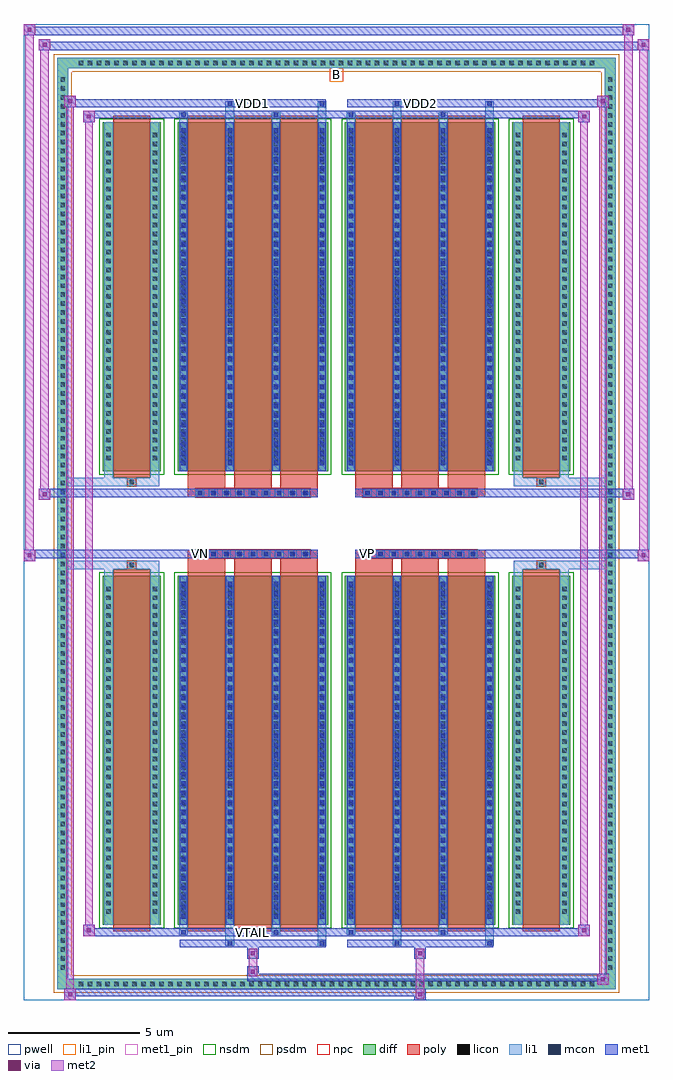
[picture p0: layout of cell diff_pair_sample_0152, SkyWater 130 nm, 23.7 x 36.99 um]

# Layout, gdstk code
import gdstk
lib = gdstk.Library(unit=1e-6, precision=5e-09)
def R(c, l, rs):  # rectangles x0, y0, x1, y1
    for r in rs: c.add(gdstk.rectangle(r[:2], r[2:], *l))
def A(c, l, x, y, w, h, nx, ny, dx, dy):  # array of equal rectangles
    R(c, l, [(x+i*dx, y+j*dy, x+i*dx+w, y+j*dy+h) for i in range(nx) for j in range(ny)])
def P(c, l, *ps):  # polygons
    for p in ps: c.add(gdstk.Polygon(p, *l))
pwell = (64, 44)
diff = (65, 20)
poly = (66, 20)
licon = (66, 44)
li1_pin = (67, 16)
li1 = (67, 20)
mcon = (67, 44)
met1_pin = (68, 16)
met1 = (68, 20)
via = (68, 44)
met2 = (69, 20)
nsdm = (93, 44)
psdm = (94, 20)
npc = (95, 20)

diff_pair_sample_0152 = lib.new_cell('diff_pair_sample_0152')
R(diff_pair_sample_0152, pwell, [(-11.85,-18.06,11.85,18.93), (-9.17,-16.25,-0.01,-0.795), (0.01,-16.25,9.17,-0.795), (-9.17,0.795,-0.01,16.25), (0.01,0.795,9.17,16.25)])
A(diff_pair_sample_0152, diff, -9.895, -17.66, 0.41, 0.41, 58, 2, 0.34, 34.91)
A(diff_pair_sample_0152, diff, -10.58, -17.035, 0.41, 0.41, 1, 100, 0, 0.34)
A(diff_pair_sample_0152, diff, 10.17, -17.035, 0.41, 0.41, 1, 100, 0, 0.34)
R(diff_pair_sample_0152, diff, [(-9.895,-17.66,9.895,-17.25), (-10.58,-17.035,-10.17,17.035), (10.17,-17.035,10.58,17.035), (-8.86,-15.205,-6.66,-1.985), (-6.02,-15.205,-0.32,-1.985), (0.32,-15.205,6.02,-1.985), (6.66,-15.205,8.86,-1.985), (-8.86,1.985,-6.66,15.205), (-6.02,1.985,-0.32,15.205), (0.32,1.985,6.02,15.205), (6.66,1.985,8.86,15.205), (-9.895,17.25,9.895,17.66)])
P(diff_pair_sample_0152, diff, [(10.58,17.66),(-10.58,17.66),(-10.58,-17.25),(-10.17,-17.25),(-10.17,17.25),(10.17,17.25),(10.17,-17.25),(-10.17,-17.25),(-10.58,-17.25),(-10.58,-17.66),(10.58,-17.66)])
A(diff_pair_sample_0152, poly, -5.63, -15.455, 1.42, 13.72, 3, 2, 1.75, 17.19)
A(diff_pair_sample_0152, poly, 0.71, -15.455, 1.42, 13.72, 3, 2, 1.75, 17.19)
A(diff_pair_sample_0152, poly, -5.63, -1.735, 1.42, 0.41, 3, 2, 1.75, 3.06)
A(diff_pair_sample_0152, poly, 0.71, -1.735, 1.42, 0.41, 3, 2, 1.75, 3.06)
A(diff_pair_sample_0152, poly, -5.335, -1.325, 0.33, 0.33, 9, 2, 0.5, 2.32)
A(diff_pair_sample_0152, poly, 1.005, -1.325, 0.33, 0.33, 9, 2, 0.5, 2.32)
R(diff_pair_sample_0152, poly, [(-8.47,-15.455,-7.05,-1.735), (7.05,-15.455,8.47,-1.735), (-7.925,-1.735,-7.595,-1.405), (-7.925,-1.735,-7.595,-1.405), (7.595,-1.735,7.925,-1.405), (7.595,-1.735,7.925,-1.405), (-5.63,-1.325,-0.71,-0.995), (0.71,-1.325,5.63,-0.995), (-5.63,0.995,-0.71,1.325), (0.71,0.995,5.63,1.325), (-7.925,1.405,-7.595,1.735), (-7.925,1.405,-7.595,1.735), (7.595,1.405,7.925,1.735), (7.595,1.405,7.925,1.735), (-8.47,1.735,-7.05,15.455), (7.05,1.735,8.47,15.455)])
A(diff_pair_sample_0152, licon, -9.775, -17.54, 0.17, 0.17, 58, 2, 0.34, 34.91)
A(diff_pair_sample_0152, licon, -10.46, -16.915, 0.17, 0.17, 1, 100, 0, 0.34)
A(diff_pair_sample_0152, licon, 10.29, -16.915, 0.17, 0.17, 1, 100, 0, 0.34)
A(diff_pair_sample_0152, licon, -8.72, -14.8, 0.17, 0.17, 1, 37, 0, 0.34)
A(diff_pair_sample_0152, licon, -6.97, -14.8, 0.17, 0.17, 1, 37, 0, 0.34)
A(diff_pair_sample_0152, licon, -5.88, -14.8, 0.17, 0.17, 4, 37, 1.75, 0.34)
A(diff_pair_sample_0152, licon, 0.46, -14.8, 0.17, 0.17, 4, 37, 1.75, 0.34)
A(diff_pair_sample_0152, licon, 6.8, -14.8, 0.17, 0.17, 1, 37, 0, 0.34)
A(diff_pair_sample_0152, licon, 8.55, -14.8, 0.17, 0.17, 1, 37, 0, 0.34)
A(diff_pair_sample_0152, licon, -5.255, -1.245, 0.17, 0.17, 9, 2, 0.5, 2.32)
A(diff_pair_sample_0152, licon, 1.085, -1.245, 0.17, 0.17, 9, 2, 0.5, 2.32)
A(diff_pair_sample_0152, licon, -8.72, 2.39, 0.17, 0.17, 1, 37, 0, 0.34)
A(diff_pair_sample_0152, licon, -6.97, 2.39, 0.17, 0.17, 1, 37, 0, 0.34)
A(diff_pair_sample_0152, licon, -5.88, 2.39, 0.17, 0.17, 4, 37, 1.75, 0.34)
A(diff_pair_sample_0152, licon, 0.46, 2.39, 0.17, 0.17, 4, 37, 1.75, 0.34)
A(diff_pair_sample_0152, licon, 6.8, 2.39, 0.17, 0.17, 1, 37, 0, 0.34)
A(diff_pair_sample_0152, licon, 8.55, 2.39, 0.17, 0.17, 1, 37, 0, 0.34)
R(diff_pair_sample_0152, licon, [(-7.845,-1.655,-7.675,-1.485), (7.675,-1.655,7.845,-1.485), (-7.845,1.485,-7.675,1.655), (7.675,1.485,7.845,1.655)])
R(diff_pair_sample_0152, li1_pin, [(-0.25,16.75,0.25,17.25)])
A(diff_pair_sample_0152, li1, -9.855, -17.62, 0.33, 0.33, 58, 2, 0.34, 34.91)
A(diff_pair_sample_0152, li1, -10.54, -16.995, 0.33, 0.33, 1, 100, 0, 0.34)
A(diff_pair_sample_0152, li1, 10.21, -16.995, 0.33, 0.33, 1, 100, 0, 0.34)
A(diff_pair_sample_0152, li1, -5.96, -15.205, 0.33, 13.22, 4, 2, 1.75, 17.19)
A(diff_pair_sample_0152, li1, 0.38, -15.205, 0.33, 13.22, 4, 2, 1.75, 17.19)
A(diff_pair_sample_0152, li1, -5.88, -14.98, 0.17, 0.17, 4, 36, 1.75, 0.36)
A(diff_pair_sample_0152, li1, -5.88, -14.98, 0.17, 12.77, 4, 2, 1.75, 17.19)
A(diff_pair_sample_0152, li1, 0.46, -14.98, 0.17, 0.17, 4, 36, 1.75, 0.36)
A(diff_pair_sample_0152, li1, 0.46, -14.98, 0.17, 12.77, 4, 2, 1.75, 17.19)
A(diff_pair_sample_0152, li1, -8.8, -14.88, 0.33, 0.33, 1, 37, 0, 0.34)
A(diff_pair_sample_0152, li1, -7.05, -14.88, 0.33, 0.33, 1, 37, 0, 0.34)
A(diff_pair_sample_0152, li1, -5.96, -14.88, 0.33, 0.33, 4, 37, 1.75, 0.34)
A(diff_pair_sample_0152, li1, 0.38, -14.88, 0.33, 0.33, 4, 37, 1.75, 0.34)
A(diff_pair_sample_0152, li1, 6.72, -14.88, 0.33, 0.33, 1, 37, 0, 0.34)
A(diff_pair_sample_0152, li1, 8.47, -14.88, 0.33, 0.33, 1, 37, 0, 0.34)
A(diff_pair_sample_0152, li1, -5.335, -1.325, 0.33, 0.33, 9, 2, 0.5, 2.32)
A(diff_pair_sample_0152, li1, 1.005, -1.325, 0.33, 0.33, 9, 2, 0.5, 2.32)
A(diff_pair_sample_0152, li1, -5.88, 2.21, 0.17, 0.17, 4, 36, 1.75, 0.36)
A(diff_pair_sample_0152, li1, 0.46, 2.21, 0.17, 0.17, 4, 36, 1.75, 0.36)
A(diff_pair_sample_0152, li1, -8.8, 2.31, 0.33, 0.33, 1, 37, 0, 0.34)
A(diff_pair_sample_0152, li1, -7.05, 2.31, 0.33, 0.33, 1, 37, 0, 0.34)
A(diff_pair_sample_0152, li1, -5.96, 2.31, 0.33, 0.33, 4, 37, 1.75, 0.34)
A(diff_pair_sample_0152, li1, 0.38, 2.31, 0.33, 0.33, 4, 37, 1.75, 0.34)
A(diff_pair_sample_0152, li1, 6.72, 2.31, 0.33, 0.33, 1, 37, 0, 0.34)
A(diff_pair_sample_0152, li1, 8.47, 2.31, 0.33, 0.33, 1, 37, 0, 0.34)
R(diff_pair_sample_0152, li1, [(-10.58,-17.66,-10.17,-17.25), (-10.58,-17.66,-10.17,-17.25), (-10.17,-17.66,10.17,-17.25), (10.17,-17.66,10.58,-17.25), (10.17,-17.66,10.58,-17.25), (-10.58,-17.25,-10.17,17.25), (10.17,-17.25,10.58,17.25), (-4.21,-16.01,-3.88,-15.205), (-4.13,-16.01,-3.96,-15.84), (-0.71,-16.01,-0.38,-15.205), (-0.63,-16.01,-0.46,-15.84), (2.13,-16.01,2.46,-15.205), (2.21,-16.01,2.38,-15.84), (5.63,-16.01,5.96,-15.205), (5.71,-16.01,5.88,-15.84), (-5.96,-15.58,-5.63,-15.205), (-5.88,-15.58,-5.71,-15.41), (-2.46,-15.58,-2.13,-15.205), (-2.38,-15.58,-2.21,-15.41), (0.38,-15.58,0.71,-15.205), (0.46,-15.58,0.63,-15.41), (3.88,-15.58,4.21,-15.205), (3.96,-15.58,4.13,-15.41), (-8.8,-15.205,-8.47,-1.985), (-7.05,-15.205,-6.72,-1.985), (6.72,-15.205,7.05,-1.985), (8.47,-15.205,8.8,-1.985), (-8.8,-1.985,-8.47,-1.405), (-7.05,-1.985,-6.72,-1.405), (6.72,-1.985,7.05,-1.405), (8.47,-1.985,8.8,-1.405), (-10.58,-1.735,-7.925,-1.405), (-8.8,-1.735,-7.925,-1.405), (-7.925,-1.735,-7.595,-1.405), (-7.595,-1.735,-6.72,-1.405), (6.72,-1.735,7.595,-1.405), (7.595,-1.735,7.925,-1.405), (7.595,-1.735,10.58,-1.405), (7.925,-1.735,8.8,-1.405), (-10.58,1.405,-7.925,1.735), (-8.8,1.405,-7.925,1.735), (-8.8,1.405,-8.47,1.985), (-7.925,1.405,-7.595,1.735), (-7.595,1.405,-6.72,1.735), (-7.05,1.405,-6.72,1.985), (6.72,1.405,7.595,1.735), (6.72,1.405,7.05,1.985), (7.595,1.405,7.925,1.735), (7.595,1.405,10.58,1.735), (7.925,1.405,8.8,1.735), (8.47,1.405,8.8,1.985), (-8.8,1.985,-8.47,15.205), (-7.05,1.985,-6.72,15.205), (6.72,1.985,7.05,15.205), (8.47,1.985,8.8,15.205), (-5.96,15.205,-5.63,15.58), (-4.21,15.205,-3.88,16.01), (-2.46,15.205,-2.13,15.58), (-0.71,15.205,-0.38,16.01), (0.38,15.205,0.71,15.58), (2.13,15.205,2.46,16.01), (3.88,15.205,4.21,15.58), (5.63,15.205,5.96,16.01), (-5.88,15.41,-5.71,15.58), (-2.38,15.41,-2.21,15.58), (0.46,15.41,0.63,15.58), (3.96,15.41,4.13,15.58), (-4.13,15.84,-3.96,16.01), (-0.63,15.84,-0.46,16.01), (2.21,15.84,2.38,16.01), (5.71,15.84,5.88,16.01), (-10.58,17.25,-10.17,17.66), (-10.58,17.25,-10.17,17.66), (-10.17,17.25,10.17,17.66), (10.17,17.25,10.58,17.66), (10.17,17.25,10.58,17.66)])
A(diff_pair_sample_0152, mcon, -5.88, -14.98, 0.17, 0.17, 4, 36, 1.75, 0.36)
A(diff_pair_sample_0152, mcon, 0.46, -14.98, 0.17, 0.17, 4, 36, 1.75, 0.36)
A(diff_pair_sample_0152, mcon, -5.255, -1.245, 0.17, 0.17, 9, 2, 0.5, 2.32)
A(diff_pair_sample_0152, mcon, 1.085, -1.245, 0.17, 0.17, 9, 2, 0.5, 2.32)
A(diff_pair_sample_0152, mcon, -5.88, 2.21, 0.17, 0.17, 4, 36, 1.75, 0.36)
A(diff_pair_sample_0152, mcon, 0.46, 2.21, 0.17, 0.17, 4, 36, 1.75, 0.36)
R(diff_pair_sample_0152, mcon, [(-4.13,-16.01,-3.96,-15.84), (-0.63,-16.01,-0.46,-15.84), (2.21,-16.01,2.38,-15.84), (5.71,-16.01,5.88,-15.84), (-5.88,-15.58,-5.71,-15.41), (-2.38,-15.58,-2.21,-15.41), (0.46,-15.58,0.63,-15.41), (3.96,-15.58,4.13,-15.41), (-5.88,15.41,-5.71,15.58), (-2.38,15.41,-2.21,15.58), (0.46,15.41,0.63,15.58), (3.96,15.41,4.13,15.58), (-4.13,15.84,-3.96,16.01), (-0.63,15.84,-0.46,16.01), (2.21,15.84,2.38,16.01), (5.71,15.84,5.88,16.01)])
R(diff_pair_sample_0152, met1_pin, [(-3.305,-15.62,-3.035,-15.35), (-5.305,-1.285,-5.035,-1.015), (1.035,-1.285,1.305,-1.015), (-3.305,15.8,-3.035,16.07), (3.035,15.8,3.305,16.07)])
A(diff_pair_sample_0152, met1, -5.94, -15.205, 0.29, 13.22, 4, 2, 1.75, 17.19)
A(diff_pair_sample_0152, met1, 0.4, -15.205, 0.29, 13.22, 4, 2, 1.75, 17.19)
A(diff_pair_sample_0152, met1, -5.94, -15.04, 0.29, 0.29, 4, 36, 1.75, 0.36)
A(diff_pair_sample_0152, met1, 0.4, -15.04, 0.29, 0.29, 4, 36, 1.75, 0.36)
A(diff_pair_sample_0152, met1, -5.315, -1.305, 0.29, 0.29, 9, 2, 0.5, 2.32)
A(diff_pair_sample_0152, met1, 1.025, -1.305, 0.29, 0.29, 9, 2, 0.5, 2.32)
A(diff_pair_sample_0152, met1, -5.94, 2.15, 0.29, 0.29, 4, 36, 1.75, 0.36)
A(diff_pair_sample_0152, met1, 0.4, 2.15, 0.29, 0.29, 4, 36, 1.75, 0.36)
R(diff_pair_sample_0152, met1, [(-10.31,-18.06,-9.88,-17.63), (2.955,-18.06,3.385,-17.63), (-10.31,-17.92,3.385,-17.63), (9.88,-17.49,10.31,-17.06), (-3.385,-17.35,10.31,-17.06), (-3.385,-17.21,-2.955,-16.78), (-3.385,-16.5,-2.955,-16.07), (2.955,-16.5,3.385,-16.07), (-5.94,-16.07,-0.4,-15.78), (-4.19,-16.07,-3.9,-15.78), (-0.69,-16.07,-0.4,-15.78), (0.4,-16.07,5.94,-15.78), (2.15,-16.07,2.44,-15.78), (5.65,-16.07,5.94,-15.78), (-9.6,-15.64,-9.17,-15.21), (-9.6,-15.64,-5.94,-15.35), (-5.94,-15.64,-5.65,-15.35), (-5.94,-15.64,-0.4,-15.35), (-2.44,-15.64,-2.15,-15.35), (-0.4,-15.64,0.4,-15.35), (0.4,-15.64,0.69,-15.35), (0.4,-15.64,5.94,-15.35), (3.9,-15.64,4.19,-15.35), (5.94,-15.64,9.6,-15.35), (9.17,-15.64,9.6,-15.21), (-11.85,-1.425,-11.42,-0.995), (11.42,-1.425,11.85,-0.995), (-11.85,-1.325,-0.71,-0.995), (-5.63,-1.325,-0.71,-0.995), (0.71,-1.325,5.63,-0.995), (0.71,-1.325,11.85,-0.995), (-11.28,0.895,-10.85,1.325), (10.85,0.895,11.28,1.325), (-11.28,0.995,-5.63,1.325), (-5.63,0.995,-0.71,1.325), (0.71,0.995,5.63,1.325), (5.63,0.995,11.28,1.325), (-9.6,15.21,-9.17,15.64), (9.17,15.21,9.6,15.64), (-9.6,15.35,-5.94,15.64), (-5.94,15.35,-5.65,15.64), (-5.94,15.35,-0.4,15.64), (-2.44,15.35,-2.15,15.64), (-0.4,15.35,0.4,15.64), (0.4,15.35,0.69,15.64), (0.4,15.35,5.94,15.64), (3.9,15.35,4.19,15.64), (5.94,15.35,9.6,15.64), (-10.31,15.78,-9.88,16.21), (-10.31,15.78,-5.94,16.07), (-5.94,15.78,-0.4,16.07), (-4.19,15.78,-3.9,16.07), (-0.69,15.78,-0.4,16.07), (0.4,15.78,5.94,16.07), (2.15,15.78,2.44,16.07), (5.65,15.78,5.94,16.07), (5.94,15.78,10.31,16.07), (9.88,15.78,10.31,16.21), (-11.28,17.93,-10.85,18.36), (-11.28,17.93,-9.17,18.26), (-9.17,17.93,9.17,18.26), (9.17,17.93,11.85,18.26), (11.42,17.93,11.85,18.36), (-11.85,18.5,-11.42,18.93), (-11.85,18.5,-9.17,18.83), (-9.17,18.5,9.17,18.83), (9.17,18.5,11.28,18.83), (10.85,18.5,11.28,18.93)])
R(diff_pair_sample_0152, via, [(-10.17,-17.92,-10.02,-17.77), (3.095,-17.92,3.245,-17.77), (10.02,-17.35,10.17,-17.2), (-3.245,-17.07,-3.095,-16.92), (-3.245,-16.36,-3.095,-16.21), (3.095,-16.36,3.245,-16.21), (-9.46,-15.5,-9.31,-15.35), (9.31,-15.5,9.46,-15.35), (-11.71,-1.285,-11.56,-1.135), (11.56,-1.285,11.71,-1.135), (-11.14,1.035,-10.99,1.185), (10.99,1.035,11.14,1.185), (-9.46,15.35,-9.31,15.5), (9.31,15.35,9.46,15.5), (-10.17,15.92,-10.02,16.07), (10.02,15.92,10.17,16.07), (-11.14,18.07,-10.99,18.22), (11.56,18.07,11.71,18.22), (-11.71,18.64,-11.56,18.79), (10.99,18.64,11.14,18.79)])
R(diff_pair_sample_0152, met2, [(-10.31,-18.06,-9.88,-17.63), (-10.24,-18.06,-9.95,16.21), (-9.95,-18.06,-9.88,-17.63), (-10.26,-18.01,-9.93,-17.68), (3.005,-18.01,3.335,-17.68), (3.005,-17.68,3.335,-16.45), (9.88,-17.49,10.31,-17.06), (9.95,-17.49,10.24,16.21), (10.24,-17.49,10.31,-17.06), (9.93,-17.44,10.26,-17.11), (-3.335,-17.16,-3.005,-16.83), (-3.335,-16.83,-3.005,-16.45), (-3.335,-16.45,-3.005,-16.12), (3.005,-16.45,3.335,-16.12), (-9.6,-15.64,-9.17,-15.21), (-9.53,-15.64,-9.24,15.64), (-9.24,-15.64,-9.17,-15.21), (9.17,-15.64,9.6,-15.21), (9.24,-15.64,9.53,15.64), (9.53,-15.64,9.6,-15.21), (-9.55,-15.59,-9.22,-15.26), (9.22,-15.59,9.55,-15.26), (-11.85,-1.425,-11.42,-0.995), (-11.8,-1.425,-11.47,18.93), (-11.47,-1.425,-11.42,-0.995), (11.42,-1.425,11.85,-0.995), (11.47,-1.425,11.8,18.36), (11.8,-1.425,11.85,-0.995), (-11.8,-1.375,-11.47,-1.045), (11.47,-1.375,11.8,-1.045), (-11.28,0.895,-10.85,1.325), (-11.23,0.895,-10.9,18.36), (-10.9,0.895,-10.85,1.325), (10.85,0.895,11.28,1.325), (10.9,0.895,11.23,18.93), (11.23,0.895,11.28,1.325), (-11.23,0.945,-10.9,1.275), (10.9,0.945,11.23,1.275), (-9.6,15.21,-9.17,15.64), (-9.24,15.21,-9.17,15.64), (9.17,15.21,9.6,15.64), (9.53,15.21,9.6,15.64), (-9.55,15.26,-9.22,15.59), (9.22,15.26,9.55,15.59), (-10.31,15.78,-9.88,16.21), (-9.95,15.78,-9.88,16.21), (9.88,15.78,10.31,16.21), (10.24,15.78,10.31,16.21), (-10.26,15.83,-9.93,16.16), (9.93,15.83,10.26,16.16), (-11.28,17.93,-10.85,18.36), (-10.9,17.93,-10.85,18.36), (11.42,17.93,11.85,18.36), (11.8,17.93,11.85,18.36), (-11.23,17.98,-10.9,18.31), (11.47,17.98,11.8,18.31), (-11.85,18.5,-11.42,18.93), (-11.47,18.5,-11.42,18.93), (10.85,18.5,11.28,18.93), (11.23,18.5,11.28,18.93), (-11.8,18.55,-11.47,18.88), (10.9,18.55,11.23,18.88)])
R(diff_pair_sample_0152, nsdm, [(-8.99,-15.335,-6.53,-1.855), (-6.15,-15.335,-0.19,-1.855), (0.19,-15.335,6.15,-1.855), (6.53,-15.335,8.99,-1.855), (-8.99,1.855,-6.53,15.335), (-6.15,1.855,-0.19,15.335), (0.19,1.855,6.15,15.335), (6.53,1.855,8.99,15.335)])
P(diff_pair_sample_0152, psdm, [(10.71,17.79),(-10.71,17.79),(-10.71,-17.12),(-10.04,-17.12),(-10.04,17.12),(10.04,17.12),(10.04,-17.12),(-10.04,-17.12),(-10.71,-17.12),(-10.71,-17.79),(10.71,-17.79)])
A(diff_pair_sample_0152, npc, -5.355, -1.345, 0.37, 0.37, 9, 2, 0.5, 2.32)
A(diff_pair_sample_0152, npc, 0.985, -1.345, 0.37, 0.37, 9, 2, 0.5, 2.32)
R(diff_pair_sample_0152, npc, [(-7.945,-1.755,-7.575,-1.385), (7.575,-1.755,7.945,-1.385), (-5.355,-1.345,-4.485,-0.975), (-5.355,-1.345,-4.485,-0.975), (-4.855,-1.345,-3.985,-0.975), (-4.855,-1.345,-3.985,-0.975), (-4.355,-1.345,-3.485,-0.975), (-4.355,-1.345,-3.485,-0.975), (-3.855,-1.345,-2.985,-0.975), (-3.855,-1.345,-2.985,-0.975), (-3.355,-1.345,-2.485,-0.975), (-3.355,-1.345,-2.485,-0.975), (-2.855,-1.345,-1.985,-0.975), (-2.855,-1.345,-1.985,-0.975), (-2.355,-1.345,-1.485,-0.975), (-2.355,-1.345,-1.485,-0.975), (-1.855,-1.345,-0.985,-0.975), (-1.855,-1.345,-0.985,-0.975), (0.985,-1.345,1.855,-0.975), (0.985,-1.345,1.855,-0.975), (1.485,-1.345,2.355,-0.975), (1.485,-1.345,2.355,-0.975), (1.985,-1.345,2.855,-0.975), (1.985,-1.345,2.855,-0.975), (2.485,-1.345,3.355,-0.975), (2.485,-1.345,3.355,-0.975), (2.985,-1.345,3.855,-0.975), (2.985,-1.345,3.855,-0.975), (3.485,-1.345,4.355,-0.975), (3.485,-1.345,4.355,-0.975), (3.985,-1.345,4.855,-0.975), (3.985,-1.345,4.855,-0.975), (4.485,-1.345,5.355,-0.975), (4.485,-1.345,5.355,-0.975), (-5.355,0.975,-4.485,1.345), (-5.355,0.975,-4.485,1.345), (-4.855,0.975,-3.985,1.345), (-4.855,0.975,-3.985,1.345), (-4.355,0.975,-3.485,1.345), (-4.355,0.975,-3.485,1.345), (-3.855,0.975,-2.985,1.345), (-3.855,0.975,-2.985,1.345), (-3.355,0.975,-2.485,1.345), (-3.355,0.975,-2.485,1.345), (-2.855,0.975,-1.985,1.345), (-2.855,0.975,-1.985,1.345), (-2.355,0.975,-1.485,1.345), (-2.355,0.975,-1.485,1.345), (-1.855,0.975,-0.985,1.345), (-1.855,0.975,-0.985,1.345), (0.985,0.975,1.855,1.345), (0.985,0.975,1.855,1.345), (1.485,0.975,2.355,1.345), (1.485,0.975,2.355,1.345), (1.985,0.975,2.855,1.345), (1.985,0.975,2.855,1.345), (2.485,0.975,3.355,1.345), (2.485,0.975,3.355,1.345), (2.985,0.975,3.855,1.345), (2.985,0.975,3.855,1.345), (3.485,0.975,4.355,1.345), (3.485,0.975,4.355,1.345), (3.985,0.975,4.855,1.345), (3.985,0.975,4.855,1.345), (4.485,0.975,5.355,1.345), (4.485,0.975,5.355,1.345), (-7.945,1.385,-7.575,1.755), (7.575,1.385,7.945,1.755)])
diff_pair_sample_0152.add(gdstk.Label('VTAIL', (-3.17,-15.485), layer=68, texttype=5))
diff_pair_sample_0152.add(gdstk.Label('VN', (-5.17,-1.15), layer=68, texttype=5))
diff_pair_sample_0152.add(gdstk.Label('VP', (1.17,-1.15), layer=68, texttype=5))
diff_pair_sample_0152.add(gdstk.Label('B', (0,17), layer=67, texttype=5))
diff_pair_sample_0152.add(gdstk.Label('VDD2', (3.17,15.935), layer=68, texttype=5))
diff_pair_sample_0152.add(gdstk.Label('VDD1', (-3.17,15.935), layer=68, texttype=5))

lib.write_gds('diff_pair_sample_0152.gds')
